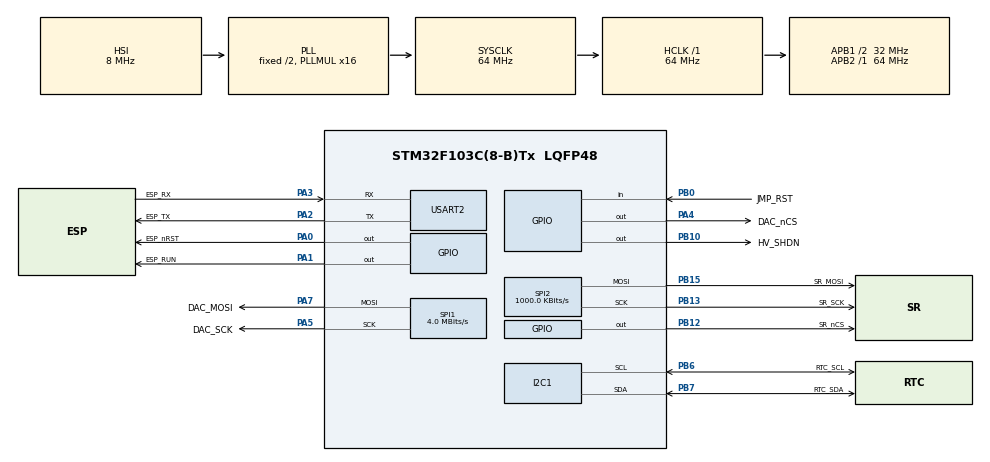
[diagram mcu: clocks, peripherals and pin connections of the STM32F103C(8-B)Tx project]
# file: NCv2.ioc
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Mcu.Family=STM32F1
Mcu.Name=STM32F103C(8-B)Tx
Mcu.Package=LQFP48
NVIC.PriorityGroup=NVIC_PRIORITYGROUP_4
NVIC.TIM2_IRQn=true\:0\:0\:false\:false\:true\:true\:true\:true
NVIC.USART2_IRQn=true\:1\:0\:true\:false\:true\:true\:true\:true
PA0-WKUP.GPIO_Label=ESP_nRST
PA0-WKUP.Signal=GPIO_Output
PA1.GPIO_Label=ESP_RUN
PA1.Signal=GPIO_Output
PA13.GPIO_Label=SYS_JTMS
PA13.Mode=JTAG_4_pins
PA13.Signal=SYS_JTMS-SWDIO
PA14.GPIO_Label=SYS_JTCLK
PA14.Mode=JTAG_4_pins
PA14.Signal=SYS_JTCK-SWCLK
PA15.GPIO_Label=SYS_JTDI
PA15.Mode=JTAG_4_pins
PA15.Signal=SYS_JTDI
PA2.GPIO_Label=ESP_TX
PA2.Mode=Asynchronous
PA2.Signal=USART2_TX
PA3.GPIO_Label=ESP_RX
PA3.Mode=Asynchronous
PA3.Signal=USART2_RX
PA4.GPIO_Label=DAC_nCS
PA4.Signal=GPIO_Output
PA5.GPIO_Label=DAC_SCK
PA5.Mode=TX_Only_Simplex_Unidirect_Master
PA5.Signal=SPI1_SCK
PA7.GPIO_Label=DAC_MOSI
PA7.Mode=TX_Only_Simplex_Unidirect_Master
PA7.Signal=SPI1_MOSI
PB0.GPIO_Label=JMP_RST
PB0.Signal=GPIO_Input
PB10.GPIO_Label=HV_SHDN
PB10.Signal=GPIO_Output
PB12.GPIO_Label=SR_nCS
PB12.Signal=GPIO_Output
PB13.GPIO_Label=SR_SCK
PB13.Mode=TX_Only_Simplex_Unidirect_Master
PB13.Signal=SPI2_SCK
PB15.GPIO_Label=SR_MOSI
PB15.Mode=TX_Only_Simplex_Unidirect_Master
PB15.Signal=SPI2_MOSI
PB3.GPIO_Label=SYS_JTDO
PB3.Mode=JTAG_4_pins
PB3.Signal=SYS_JTDO-TRACESWO
PB6.GPIO_Label=RTC_SCL
PB6.Mode=I2C
PB6.Signal=I2C1_SCL
PB7.GPIO_Label=RTC_SDA
PB7.Mode=I2C
PB7.Signal=I2C1_SDA
ProjectManager.HeapSize=0x200
ProjectManager.StackSize=0x400
ProjectManager.TargetToolchain=Makefile
RCC.AHBFreq_Value=64000000
RCC.APB1CLKDivider=RCC_HCLK_DIV2
RCC.APB1Freq_Value=32000000
RCC.APB1TimFreq_Value=64000000
RCC.APB2Freq_Value=64000000
RCC.APB2TimFreq_Value=64000000
RCC.HCLKFreq_Value=64000000
RCC.PLLMUL=RCC_PLL_MUL16
RCC.SYSCLKFreq_VALUE=64000000
RCC.SYSCLKSource=RCC_SYSCLKSOURCE_PLLCLK
RCC.USBFreq_Value=64000000
SPI1.BaudRatePrescaler=SPI_BAUDRATEPRESCALER_16
SPI1.CalculateBaudRate=4.0 MBits/s
SPI1.Direction=SPI_DIRECTION_2LINES
SPI1.Mode=SPI_MODE_MASTER
SPI1.VirtualType=VM_MASTER
SPI2.BaudRatePrescaler=SPI_BAUDRATEPRESCALER_32
SPI2.CalculateBaudRate=1000.0 KBits/s
SPI2.Direction=SPI_DIRECTION_2LINES
SPI2.Mode=SPI_MODE_MASTER
SPI2.VirtualType=VM_MASTER
TIM2.AutoReloadPreload=TIM_AUTORELOAD_PRELOAD_ENABLE
TIM2.Period=2000
TIM2.Prescaler=6400 - 1
USART2.VirtualMode=VM_ASYNC
VP_TIM2_VS_ClockSourceINT.Mode=Internal
board=custom

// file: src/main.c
/* USER CODE BEGIN Header */
/**
 ******************************************************************************
 * @file           : main.c
 * @brief          : Main program body
 ******************************************************************************
 * @attention
 *
 * Copyright (c) 2023 STMicroelectronics.
 * All rights reserved.
 *
 * This software is licensed under terms that can be found in the LICENSE file
 * in the root directory of this software component.
 * If no LICENSE file comes with this software, it is provided AS-IS.
 *
 ******************************************************************************
 */
/* USER CODE END Header */
#include "main.h"

/* USER CODE BEGIN Includes */
#include <string.h>

#include "helper.h"
/* USER CODE END Includes */

/* USER CODE BEGIN PD */

// #define FLASH_MODE

/* USER CODE END PD */

I2C_HandleTypeDef hi2c1;

SPI_HandleTypeDef hspi1;
SPI_HandleTypeDef hspi2;

TIM_HandleTypeDef htim2;

UART_HandleTypeDef huart2;

/* USER CODE BEGIN PV */
uint8_t RTCBuffer[7] = {0};

uint8_t uartBuffer[11];

void SystemClock_Config(void);
static void MX_GPIO_Init(void);
static void MX_I2C1_Init(void);
static void MX_SPI1_Init(void);
static void MX_SPI2_Init(void);
static void MX_USART2_UART_Init(void);
static void MX_TIM2_Init(void);

int main(void)
{

    /* MCU Configuration--------------------------------------------------------*/

    /* Reset of all peripherals, Initializes the Flash interface and the Systick. */
    HAL_Init();

    /* Configure the system clock */
    SystemClock_Config();

    /* Initialize all configured peripherals */
    MX_GPIO_Init();
    MX_I2C1_Init();
    MX_SPI1_Init();
    MX_SPI2_Init();
    MX_USART2_UART_Init();
    MX_TIM2_Init();
    /* USER CODE BEGIN 2 */
#ifdef FLASH_MODE
    HAL_GPIO_WritePin(HV_SHDN_GPIO_Port, HV_SHDN_Pin, 1);
    HAL_GPIO_WritePin(ESP_RUN_GPIO_Port, ESP_RUN_Pin, 0);
    HAL_GPIO_WritePin(ESP_nRST_GPIO_Port, ESP_nRST_Pin, 1);
#endif

#ifndef FLASH_MODE
    // Initialize ESP, DAC, SR
    HAL_GPIO_WritePin(HV_SHDN_GPIO_Port, HV_SHDN_Pin, 1);
    HAL_GPIO_WritePin(ESP_RUN_GPIO_Port, ESP_RUN_Pin, 1);
    HAL_GPIO_WritePin(ESP_nRST_GPIO_Port, ESP_nRST_Pin, 1);

    DAC_init(&DAC_SPI, DAC_nCS_GPIO_Port, DAC_nCS_Pin);
    DAC_setAll(&DAC_SPI, DAC_nCS_GPIO_Port, DAC_nCS_Pin, 0);
    SR_clearDigits(&SR_SPI, SR_nCS_GPIO_Port, SR_nCS_Pin);

    // Poll for first ESP valid data packet
    for (;;)
    {
        DataPacket dataPacket = {0};
        HAL_UART_Receive(&ESP_UART, uartBuffer, 11, HAL_MAX_DELAY);
        parseDataPacket(uartBuffer, &dataPacket);
        if ((dataPacket.packetType & TIME) != 0)
        {
            RTC_setTime(&RTC_I2C, &dataPacket.dateTime);
        }
        if ((dataPacket.packetType & TUBECURRENT) != 0)
        {
            DAC_setAll(&DAC_SPI, DAC_nCS_GPIO_Port, DAC_nCS_Pin, dataPacket.tubeCurrent);
            HAL_GPIO_WritePin(HV_SHDN_GPIO_Port, HV_SHDN_Pin, 0);
            break;
        }
    }

    // Start display
    HAL_TIM_Base_Start_IT(&htim2);

    // Start listening for ESP data packets
    HAL_UART_Receive_IT(&ESP_UART, uartBuffer, 11);

#endif
    /* USER CODE END 2 */

    /* Infinite loop */
    while (1)
    {

    }
}

/**
 * @brief Timer callback function, runs every 200ms
 */
void HAL_TIM_PeriodElapsedCallback(TIM_HandleTypeDef *htim)
{
    // Update display with RTC time
    DateTime dateTime = {0};
    RTC_getTime(&RTC_I2C, &dateTime);
    uint8_t digits[6];
    digits[0] = dateTime.second % 10;
    digits[1] = dateTime.second / 10;
    digits[2] = dateTime.minute % 10;
    digits[3] = dateTime.minute / 10;
    digits[4] = dateTime.hour % 10;
    digits[5] = dateTime.hour / 10;
    SR_setDigits(&SR_SPI, SR_nCS_GPIO_Port, SR_nCS_Pin, digits);
}

/**
 * @brief UART callback function, runs every time a data packet is received from ESP32
 */
void HAL_UART_RxCpltCallback(UART_HandleTypeDef *huart)
{
    DataPacket dataPacket = {0};
    parseDataPacket(uartBuffer, &dataPacket);

    if ((dataPacket.packetType & TIME) != 0)
    {
        RTC_setTime(&RTC_I2C, &dataPacket.dateTime);
    }
    if ((dataPacket.packetType & TUBECURRENT) != 0)
    {
        DAC_setAll(&DAC_SPI, DAC_nCS_GPIO_Port, DAC_nCS_Pin, dataPacket.tubeCurrent);
    }

    HAL_UART_Receive_IT(&ESP_UART, uartBuffer, 11);
}

void SystemClock_Config(void)
{
    RCC_OscInitTypeDef RCC_OscInitStruct = {0};
    RCC_ClkInitTypeDef RCC_ClkInitStruct = {0};

    /** Initializes the RCC Oscillators according to the specified parameters
     * in the RCC_OscInitTypeDef structure.
     */
    RCC_OscInitStruct.OscillatorType = RCC_OSCILLATORTYPE_HSI;
    RCC_OscInitStruct.HSIState = RCC_HSI_ON;
    RCC_OscInitStruct.HSICalibrationValue = RCC_HSICALIBRATION_DEFAULT;
    RCC_OscInitStruct.PLL.PLLState = RCC_PLL_ON;
    RCC_OscInitStruct.PLL.PLLSource = RCC_PLLSOURCE_HSI_DIV2;
    RCC_OscInitStruct.PLL.PLLMUL = RCC_PLL_MUL16;
    if (HAL_RCC_OscConfig(&RCC_OscInitStruct) != HAL_OK)
    {
        Error_Handler();
    }

    /** Initializes the CPU, AHB and APB buses clocks
     */
    RCC_ClkInitStruct.ClockType = RCC_CLOCKTYPE_HCLK | RCC_CLOCKTYPE_SYSCLK | RCC_CLOCKTYPE_PCLK1 | RCC_CLOCKTYPE_PCLK2;
    RCC_ClkInitStruct.SYSCLKSource = RCC_SYSCLKSOURCE_PLLCLK;
    RCC_ClkInitStruct.AHBCLKDivider = RCC_SYSCLK_DIV1;
    RCC_ClkInitStruct.APB1CLKDivider = RCC_HCLK_DIV2;
    RCC_ClkInitStruct.APB2CLKDivider = RCC_HCLK_DIV1;

    if (HAL_RCC_ClockConfig(&RCC_ClkInitStruct, FLASH_LATENCY_2) != HAL_OK)
    {
        Error_Handler();
    }
}

static void MX_I2C1_Init(void)
{

    hi2c1.Instance = I2C1;
    hi2c1.Init.ClockSpeed = 100000;
    hi2c1.Init.DutyCycle = I2C_DUTYCYCLE_2;
    hi2c1.Init.OwnAddress1 = 0;
    hi2c1.Init.AddressingMode = I2C_ADDRESSINGMODE_7BIT;
    hi2c1.Init.DualAddressMode = I2C_DUALADDRESS_DISABLE;
    hi2c1.Init.OwnAddress2 = 0;
    hi2c1.Init.GeneralCallMode = I2C_GENERALCALL_DISABLE;
    hi2c1.Init.NoStretchMode = I2C_NOSTRETCH_DISABLE;
    if (HAL_I2C_Init(&hi2c1) != HAL_OK)
    {
        Error_Handler();
    }
}

static void MX_SPI1_Init(void)
{

    /* SPI1 parameter configuration*/
    hspi1.Instance = SPI1;
    hspi1.Init.Mode = SPI_MODE_MASTER;
    hspi1.Init.Direction = SPI_DIRECTION_2LINES;
    hspi1.Init.DataSize = SPI_DATASIZE_8BIT;
    hspi1.Init.CLKPolarity = SPI_POLARITY_LOW;
    hspi1.Init.CLKPhase = SPI_PHASE_1EDGE;
    hspi1.Init.NSS = SPI_NSS_SOFT;
    hspi1.Init.BaudRatePrescaler = SPI_BAUDRATEPRESCALER_16;
    hspi1.Init.FirstBit = SPI_FIRSTBIT_MSB;
    hspi1.Init.TIMode = SPI_TIMODE_DISABLE;
    hspi1.Init.CRCCalculation = SPI_CRCCALCULATION_DISABLE;
    hspi1.Init.CRCPolynomial = 10;
    if (HAL_SPI_Init(&hspi1) != HAL_OK)
    {
        Error_Handler();
    }
}

static void MX_SPI2_Init(void)
{

    /* SPI2 parameter configuration*/
    hspi2.Instance = SPI2;
    hspi2.Init.Mode = SPI_MODE_MASTER;
    hspi2.Init.Direction = SPI_DIRECTION_2LINES;
    hspi2.Init.DataSize = SPI_DATASIZE_8BIT;
    hspi2.Init.CLKPolarity = SPI_POLARITY_LOW;
    hspi2.Init.CLKPhase = SPI_PHASE_1EDGE;
    hspi2.Init.NSS = SPI_NSS_SOFT;
    hspi2.Init.BaudRatePrescaler = SPI_BAUDRATEPRESCALER_32;
    hspi2.Init.FirstBit = SPI_FIRSTBIT_MSB;
    hspi2.Init.TIMode = SPI_TIMODE_DISABLE;
    hspi2.Init.CRCCalculation = SPI_CRCCALCULATION_DISABLE;
    hspi2.Init.CRCPolynomial = 10;
    if (HAL_SPI_Init(&hspi2) != HAL_OK)
    {
        Error_Handler();
    }
}

static void MX_TIM2_Init(void)
{

    TIM_ClockConfigTypeDef sClockSourceConfig = {0};
    TIM_MasterConfigTypeDef sMasterConfig = {0};

    htim2.Instance = TIM2;
    htim2.Init.Prescaler = 6400 - 1;
    htim2.Init.CounterMode = TIM_COUNTERMODE_UP;
    htim2.Init.Period = 2000;
    htim2.Init.ClockDivision = TIM_CLOCKDIVISION_DIV1;
    htim2.Init.AutoReloadPreload = TIM_AUTORELOAD_PRELOAD_ENABLE;
    if (HAL_TIM_Base_Init(&htim2) != HAL_OK)
    {
        Error_Handler();
    }
    sClockSourceConfig.ClockSource = TIM_CLOCKSOURCE_INTERNAL;
    if (HAL_TIM_ConfigClockSource(&htim2, &sClockSourceConfig) != HAL_OK)
    {
        Error_Handler();
    }
    sMasterConfig.MasterOutputTrigger = TIM_TRGO_RESET;
    sMasterConfig.MasterSlaveMode = TIM_MASTERSLAVEMODE_DISABLE;
    if (HAL_TIMEx_MasterConfigSynchronization(&htim2, &sMasterConfig) != HAL_OK)
    {
        Error_Handler();
    }
}

static void MX_USART2_UART_Init(void)
{

    huart2.Instance = USART2;
    huart2.Init.BaudRate = 115200;
    huart2.Init.WordLength = UART_WORDLENGTH_8B;
    huart2.Init.StopBits = UART_STOPBITS_1;
    huart2.Init.Parity = UART_PARITY_NONE;
    huart2.Init.Mode = UART_MODE_TX_RX;
    huart2.Init.HwFlowCtl = UART_HWCONTROL_NONE;
    huart2.Init.OverSampling = UART_OVERSAMPLING_16;
    if (HAL_UART_Init(&huart2) != HAL_OK)
    {
        Error_Handler();
    }
}

static void MX_GPIO_Init(void)
{
    GPIO_InitTypeDef GPIO_InitStruct = {0};

    /* GPIO Ports Clock Enable */
    __HAL_RCC_GPIOA_CLK_ENABLE();
    __HAL_RCC_GPIOB_CLK_ENABLE();

    /*Configure GPIO pin Output Level */
    HAL_GPIO_WritePin(GPIOA, ESP_nRST_Pin | ESP_RUN_Pin | DAC_nCS_Pin, GPIO_PIN_RESET);

    /*Configure GPIO pin Output Level */
    HAL_GPIO_WritePin(GPIOB, HV_SHDN_Pin | SR_nCS_Pin, GPIO_PIN_RESET);

    /*Configure GPIO pins : ESP_nRST_Pin ESP_RUN_Pin DAC_nCS_Pin */
    GPIO_InitStruct.Pin = ESP_nRST_Pin | ESP_RUN_Pin | DAC_nCS_Pin;
    GPIO_InitStruct.Mode = GPIO_MODE_OUTPUT_PP;
    GPIO_InitStruct.Pull = GPIO_NOPULL;
    GPIO_InitStruct.Speed = GPIO_SPEED_FREQ_LOW;
    HAL_GPIO_Init(GPIOA, &GPIO_InitStruct);

    /*Configure GPIO pin : JMP_RST_Pin */
    GPIO_InitStruct.Pin = JMP_RST_Pin;
    GPIO_InitStruct.Mode = GPIO_MODE_INPUT;
    GPIO_InitStruct.Pull = GPIO_NOPULL;
    HAL_GPIO_Init(JMP_RST_GPIO_Port, &GPIO_InitStruct);

    /*Configure GPIO pins : HV_SHDN_Pin SR_nCS_Pin */
    GPIO_InitStruct.Pin = HV_SHDN_Pin | SR_nCS_Pin;
    GPIO_InitStruct.Mode = GPIO_MODE_OUTPUT_PP;
    GPIO_InitStruct.Pull = GPIO_NOPULL;
    GPIO_InitStruct.Speed = GPIO_SPEED_FREQ_LOW;
    HAL_GPIO_Init(GPIOB, &GPIO_InitStruct);
}

void Error_Handler(void)
{
    __disable_irq();
    while (1)
    {
    }
}
